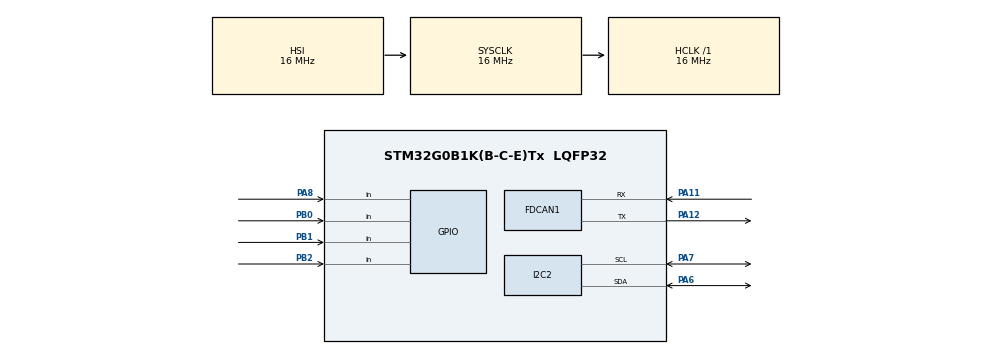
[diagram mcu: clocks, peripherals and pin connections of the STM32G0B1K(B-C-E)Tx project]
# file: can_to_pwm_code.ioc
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FDCAN1.CalculateBaudRateNominal=333333
FDCAN1.CalculateTimeBitNominal=3000
FDCAN1.CalculateTimeQuantumNominal=1000.0
I2C2.Timing=0x00503D58
Mcu.Family=STM32G0
Mcu.Name=STM32G0B1K(B-C-E)Tx
Mcu.Package=LQFP32
PA11\ [PA9].Mode=FDCAN_Activate
PA11\ [PA9].Signal=FDCAN1_RX
PA12\ [PA10].Mode=FDCAN_Activate
PA12\ [PA10].Signal=FDCAN1_TX
PA13.Mode=Serial_Wire
PA13.Signal=SYS_SWDIO
PA14-BOOT0.Mode=Serial_Wire
PA14-BOOT0.Signal=SYS_SWCLK
PA6.Mode=I2C
PA6.Signal=I2C2_SDA
PA7.Mode=I2C
PA7.Signal=I2C2_SCL
PA8.Signal=GPIO_Input
PB0.Signal=GPIO_Input
PB1.Signal=GPIO_Input
PB2.Signal=GPIO_Input
ProjectManager.HeapSize=0x200
ProjectManager.StackSize=0x400
ProjectManager.TargetToolchain=STM32CubeIDE
RCC.AHBFreq_Value=16000000
RCC.CortexFreq_Value=16000000
RCC.EXTERNAL_CLOCK_VALUE=48000
RCC.HCLKFreq_Value=16000000
RCC.HSE_VALUE=8000000
RCC.HSI48_VALUE=48000000
RCC.HSI_VALUE=16000000
RCC.LSE_VALUE=32768
RCC.SYSCLKFreq_VALUE=16000000
RCC.USBFreq_Value=48000000
RCC.VCOOutputFreq_Value=128000000
VP_SYS_VS_DBSignals.Mode=DisableDeadBatterySignals
board=custom

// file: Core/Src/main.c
/* USER CODE BEGIN Header */
/**
  ******************************************************************************
  * @file           : main.c
  * @brief          : Main program body
  ******************************************************************************
  * @attention
  *
  * Copyright (c) 2026 STMicroelectronics.
  * All rights reserved.
  *
  * This software is licensed under terms that can be found in the LICENSE file
  * in the root directory of this software component.
  * If no LICENSE file comes with this software, it is provided AS-IS.
  *
  ******************************************************************************
  */
/* USER CODE END Header */
#include "main.h"

FDCAN_HandleTypeDef hfdcan1;

I2C_HandleTypeDef hi2c2;

void SystemClock_Config(void);
static void MX_GPIO_Init(void);
static void MX_FDCAN1_Init(void);
static void MX_I2C2_Init(void);

int main(void)
{

  /* MCU Configuration--------------------------------------------------------*/

  /* Reset of all peripherals, Initializes the Flash interface and the Systick. */
  HAL_Init();

  /* Configure the system clock */
  SystemClock_Config();

  /* Initialize all configured peripherals */
  MX_GPIO_Init();
  MX_FDCAN1_Init();
  MX_I2C2_Init();
  /* USER CODE BEGIN 2 */
  uint16_t pwm_id = 0x46;

  uint8_t mode1_address = 0x00;
  uint8_t mode2_address = 0x01;
  uint8_t pwm2_on_h_address = 0x0F;
  uint8_t pwm2_on_l_address = 0x0E;
  uint8_t pwm2_off_h_address = 0x11;
  uint8_t pwm2_off_l_address = 0x10;
  uint8_t pwm3_on_h_address = 0x13;
  uint8_t pwm3_on_l_address = 0x12;
  uint8_t pwm3_off_h_address = 0x15;
  uint8_t pwm3_off_l_address = 0x14;

  uint8_t mode1_data = 0b00001001;
  uint8_t mode2_data = 0b00011100;
  uint8_t pwm2_h_speed = 0b00000000;
  uint8_t pwm2_l_speed = 0b00001000;
  uint8_t pwm3_h_speed = 0b00000000;
  uint8_t pwm3_l_speed = 0b00001000;

  uint8_t i2c_data[2];
  i2c_data[0] = mode1_address;
  i2c_data[1] = mode1_data;
  HAL_I2C_Master_Transmit(&hi2c2, pwm_id<<1, i2c_data, 2, 1000);

  i2c_data[0] = mode2_address;
  i2c_data[1] = mode2_data;
  HAL_I2C_Master_Transmit(&hi2c2, pwm_id<<1, i2c_data, 2, 1000);
  /* USER CODE END 2 */

  /* Infinite loop */
  while (1)
  {
	  i2c_data[0] = pwm2_on_l_address;
	  i2c_data[1] = pwm2_l_speed;
	  HAL_I2C_Master_Transmit(&hi2c2, pwm_id<<1, i2c_data, 2, 1000);
	  i2c_data[0] = pwm2_on_h_address;
	  i2c_data[1] = pwm2_h_speed;
	  HAL_I2C_Master_Transmit(&hi2c2, pwm_id<<1, i2c_data, 2, 1000);

	  i2c_data[0] = pwm3_on_l_address;
	  i2c_data[1] = pwm3_l_speed;
	  HAL_I2C_Master_Transmit(&hi2c2, pwm_id<<1, i2c_data, 2, 1000);
	  i2c_data[0] = pwm3_on_h_address;
	  i2c_data[1] = pwm3_h_speed;
	  HAL_I2C_Master_Transmit(&hi2c2, pwm_id<<1, i2c_data, 2, 1000);

	  HAL_Delay(2000);

	  i2c_data[0] = pwm2_off_l_address;
	  i2c_data[1] = 0b00000000;
	  HAL_I2C_Master_Transmit(&hi2c2, pwm_id<<1, i2c_data, 2, 1000);
	  i2c_data[0] = pwm2_off_h_address;
	  i2c_data[1] = 0b00000000;
	  HAL_I2C_Master_Transmit(&hi2c2, pwm_id<<1, i2c_data, 2, 1000);

	  i2c_data[0] = pwm3_off_l_address;
	  i2c_data[1] = 0b00010000;
	  HAL_I2C_Master_Transmit(&hi2c2, pwm_id<<1, i2c_data, 2, 1000);
	  i2c_data[0] = pwm3_off_h_address;
	  i2c_data[1] = 0b00010000;
	  HAL_I2C_Master_Transmit(&hi2c2, pwm_id<<1, i2c_data, 2, 1000);

	  HAL_Delay(2000);

  }
}

void SystemClock_Config(void)
{
  RCC_OscInitTypeDef RCC_OscInitStruct = {0};
  RCC_ClkInitTypeDef RCC_ClkInitStruct = {0};

  /** Configure the main internal regulator output voltage
  */
  HAL_PWREx_ControlVoltageScaling(PWR_REGULATOR_VOLTAGE_SCALE1);

  /** Initializes the RCC Oscillators according to the specified parameters
  * in the RCC_OscInitTypeDef structure.
  */
  RCC_OscInitStruct.OscillatorType = RCC_OSCILLATORTYPE_HSI;
  RCC_OscInitStruct.HSIState = RCC_HSI_ON;
  RCC_OscInitStruct.HSIDiv = RCC_HSI_DIV1;
  RCC_OscInitStruct.HSICalibrationValue = RCC_HSICALIBRATION_DEFAULT;
  RCC_OscInitStruct.PLL.PLLState = RCC_PLL_NONE;
  if (HAL_RCC_OscConfig(&RCC_OscInitStruct) != HAL_OK)
  {
    Error_Handler();
  }

  /** Initializes the CPU, AHB and APB buses clocks
  */
  RCC_ClkInitStruct.ClockType = RCC_CLOCKTYPE_HCLK|RCC_CLOCKTYPE_SYSCLK
                              |RCC_CLOCKTYPE_PCLK1;
  RCC_ClkInitStruct.SYSCLKSource = RCC_SYSCLKSOURCE_HSI;
  RCC_ClkInitStruct.AHBCLKDivider = RCC_SYSCLK_DIV1;
  RCC_ClkInitStruct.APB1CLKDivider = RCC_HCLK_DIV1;

  if (HAL_RCC_ClockConfig(&RCC_ClkInitStruct, FLASH_LATENCY_0) != HAL_OK)
  {
    Error_Handler();
  }
}

static void MX_FDCAN1_Init(void)
{

  hfdcan1.Instance = FDCAN1;
  hfdcan1.Init.ClockDivider = FDCAN_CLOCK_DIV1;
  hfdcan1.Init.FrameFormat = FDCAN_FRAME_CLASSIC;
  hfdcan1.Init.Mode = FDCAN_MODE_NORMAL;
  hfdcan1.Init.AutoRetransmission = DISABLE;
  hfdcan1.Init.TransmitPause = DISABLE;
  hfdcan1.Init.ProtocolException = DISABLE;
  hfdcan1.Init.NominalPrescaler = 16;
  hfdcan1.Init.NominalSyncJumpWidth = 1;
  hfdcan1.Init.NominalTimeSeg1 = 1;
  hfdcan1.Init.NominalTimeSeg2 = 1;
  hfdcan1.Init.DataPrescaler = 1;
  hfdcan1.Init.DataSyncJumpWidth = 1;
  hfdcan1.Init.DataTimeSeg1 = 1;
  hfdcan1.Init.DataTimeSeg2 = 1;
  hfdcan1.Init.StdFiltersNbr = 0;
  hfdcan1.Init.ExtFiltersNbr = 0;
  hfdcan1.Init.TxFifoQueueMode = FDCAN_TX_FIFO_OPERATION;
  if (HAL_FDCAN_Init(&hfdcan1) != HAL_OK)
  {
    Error_Handler();
  }

}

static void MX_I2C2_Init(void)
{

  hi2c2.Instance = I2C2;
  hi2c2.Init.Timing = 0x00503D58;
  hi2c2.Init.OwnAddress1 = 0;
  hi2c2.Init.AddressingMode = I2C_ADDRESSINGMODE_7BIT;
  hi2c2.Init.DualAddressMode = I2C_DUALADDRESS_DISABLE;
  hi2c2.Init.OwnAddress2 = 0;
  hi2c2.Init.OwnAddress2Masks = I2C_OA2_NOMASK;
  hi2c2.Init.GeneralCallMode = I2C_GENERALCALL_DISABLE;
  hi2c2.Init.NoStretchMode = I2C_NOSTRETCH_DISABLE;
  if (HAL_I2C_Init(&hi2c2) != HAL_OK)
  {
    Error_Handler();
  }

  /** Configure Analogue filter
  */
  if (HAL_I2CEx_ConfigAnalogFilter(&hi2c2, I2C_ANALOGFILTER_ENABLE) != HAL_OK)
  {
    Error_Handler();
  }

  /** Configure Digital filter
  */
  if (HAL_I2CEx_ConfigDigitalFilter(&hi2c2, 0) != HAL_OK)
  {
    Error_Handler();
  }

}

static void MX_GPIO_Init(void)
{
  GPIO_InitTypeDef GPIO_InitStruct = {0};

  /* GPIO Ports Clock Enable */
  __HAL_RCC_GPIOA_CLK_ENABLE();
  __HAL_RCC_GPIOB_CLK_ENABLE();

  /*Configure GPIO pins : PB0 PB1 PB2 */
  GPIO_InitStruct.Pin = GPIO_PIN_0|GPIO_PIN_1|GPIO_PIN_2;
  GPIO_InitStruct.Mode = GPIO_MODE_INPUT;
  GPIO_InitStruct.Pull = GPIO_NOPULL;
  HAL_GPIO_Init(GPIOB, &GPIO_InitStruct);

  /*Configure GPIO pin : PA8 */
  GPIO_InitStruct.Pin = GPIO_PIN_8;
  GPIO_InitStruct.Mode = GPIO_MODE_INPUT;
  GPIO_InitStruct.Pull = GPIO_NOPULL;
  HAL_GPIO_Init(GPIOA, &GPIO_InitStruct);

}

void Error_Handler(void)
{
  __disable_irq();
  while (1)
  {
  }
}
